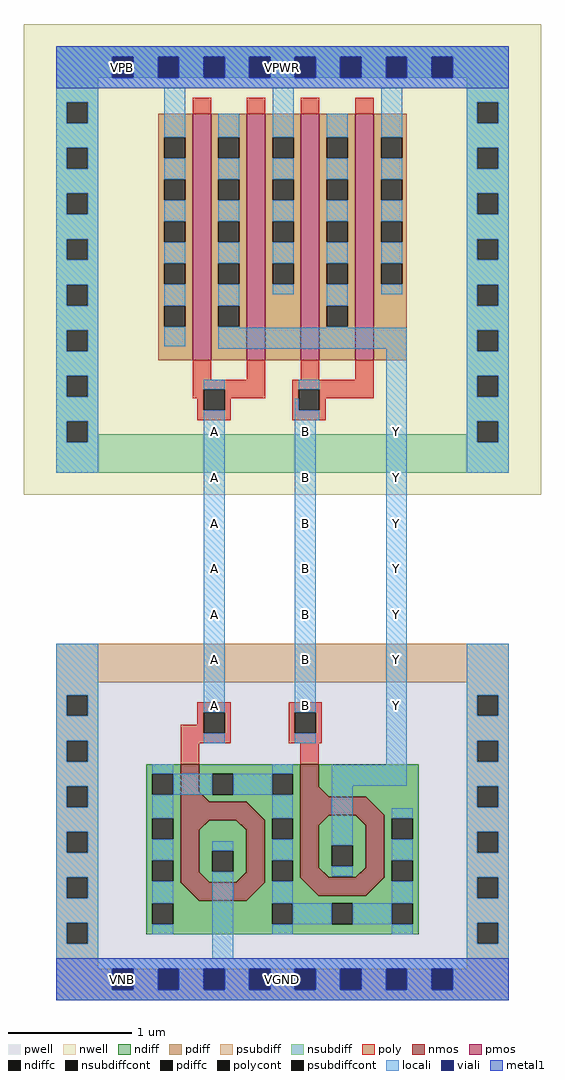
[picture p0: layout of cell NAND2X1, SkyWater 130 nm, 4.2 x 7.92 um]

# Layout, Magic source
magic
tech sky130A
magscale 1 2
<< nwell >>
rect -87 786 753 1550
<< pwell >>
rect -34 -34 700 544
<< nmos >>
rect 168 288 198 349
tri 198 288 214 304 sw
rect 362 296 392 349
tri 392 296 408 312 sw
rect 168 258 274 288
tri 274 258 304 288 sw
rect 362 266 468 296
tri 468 266 498 296 sw
rect 168 157 198 258
tri 198 242 214 258 nw
tri 258 242 274 258 ne
tri 198 157 214 173 sw
tri 258 157 274 173 se
rect 274 157 304 258
rect 362 165 392 266
tri 392 250 408 266 nw
tri 452 250 468 266 ne
tri 392 165 408 181 sw
tri 452 165 468 181 se
rect 468 165 498 266
tri 168 127 198 157 ne
rect 198 127 274 157
tri 274 127 304 157 nw
tri 362 135 392 165 ne
rect 392 135 468 165
tri 468 135 498 165 nw
<< pmos >>
rect 187 1004 217 1404
rect 275 1004 305 1404
rect 363 1004 393 1404
rect 451 1004 481 1404
<< ndiff >>
rect 112 333 168 349
rect 112 299 122 333
rect 156 299 168 333
rect 112 261 168 299
rect 198 333 362 349
rect 198 304 219 333
tri 198 288 214 304 ne
rect 214 299 219 304
rect 253 299 316 333
rect 350 299 362 333
rect 214 288 362 299
rect 392 312 554 349
tri 392 296 408 312 ne
rect 408 296 554 312
rect 112 227 122 261
rect 156 227 168 261
tri 274 258 304 288 ne
rect 304 261 362 288
tri 468 266 498 296 ne
rect 112 193 168 227
rect 112 159 122 193
rect 156 159 168 193
rect 112 127 168 159
tri 198 242 214 258 se
rect 214 242 258 258
tri 258 242 274 258 sw
rect 198 208 274 242
rect 198 174 219 208
rect 253 174 274 208
rect 198 173 274 174
tri 198 157 214 173 ne
rect 214 157 258 173
tri 258 157 274 173 nw
rect 304 227 316 261
rect 350 227 362 261
rect 304 193 362 227
rect 304 159 316 193
rect 350 159 362 193
tri 392 250 408 266 se
rect 408 250 452 266
tri 452 250 468 266 sw
rect 392 217 468 250
rect 392 183 413 217
rect 447 183 468 217
rect 392 181 468 183
tri 392 165 408 181 ne
rect 408 165 452 181
tri 452 165 468 181 nw
rect 498 261 554 296
rect 498 227 510 261
rect 544 227 554 261
rect 498 193 554 227
tri 168 127 198 157 sw
tri 274 127 304 157 se
rect 304 135 362 159
tri 362 135 392 165 sw
tri 468 135 498 165 se
rect 498 159 510 193
rect 544 159 554 193
rect 498 135 554 159
rect 304 127 554 135
rect 112 123 554 127
rect 112 89 122 123
rect 156 89 316 123
rect 350 89 413 123
rect 447 89 510 123
rect 544 89 554 123
rect 112 73 554 89
<< pdiff >>
rect 131 1366 187 1404
rect 131 1332 141 1366
rect 175 1332 187 1366
rect 131 1298 187 1332
rect 131 1264 141 1298
rect 175 1264 187 1298
rect 131 1230 187 1264
rect 131 1196 141 1230
rect 175 1196 187 1230
rect 131 1162 187 1196
rect 131 1128 141 1162
rect 175 1128 187 1162
rect 131 1093 187 1128
rect 131 1059 141 1093
rect 175 1059 187 1093
rect 131 1004 187 1059
rect 217 1366 275 1404
rect 217 1332 229 1366
rect 263 1332 275 1366
rect 217 1298 275 1332
rect 217 1264 229 1298
rect 263 1264 275 1298
rect 217 1230 275 1264
rect 217 1196 229 1230
rect 263 1196 275 1230
rect 217 1162 275 1196
rect 217 1128 229 1162
rect 263 1128 275 1162
rect 217 1093 275 1128
rect 217 1059 229 1093
rect 263 1059 275 1093
rect 217 1004 275 1059
rect 305 1366 363 1404
rect 305 1332 317 1366
rect 351 1332 363 1366
rect 305 1298 363 1332
rect 305 1264 317 1298
rect 351 1264 363 1298
rect 305 1230 363 1264
rect 305 1196 317 1230
rect 351 1196 363 1230
rect 305 1162 363 1196
rect 305 1128 317 1162
rect 351 1128 363 1162
rect 305 1004 363 1128
rect 393 1366 451 1404
rect 393 1332 405 1366
rect 439 1332 451 1366
rect 393 1298 451 1332
rect 393 1264 405 1298
rect 439 1264 451 1298
rect 393 1230 451 1264
rect 393 1196 405 1230
rect 439 1196 451 1230
rect 393 1162 451 1196
rect 393 1128 405 1162
rect 439 1128 451 1162
rect 393 1093 451 1128
rect 393 1059 405 1093
rect 439 1059 451 1093
rect 393 1004 451 1059
rect 481 1366 535 1404
rect 481 1332 493 1366
rect 527 1332 535 1366
rect 481 1298 535 1332
rect 481 1264 493 1298
rect 527 1264 535 1298
rect 481 1230 535 1264
rect 481 1196 493 1230
rect 527 1196 535 1230
rect 481 1162 535 1196
rect 481 1128 493 1162
rect 527 1128 535 1162
rect 481 1004 535 1128
<< ndiffc >>
rect 122 299 156 333
rect 219 299 253 333
rect 316 299 350 333
rect 122 227 156 261
rect 122 159 156 193
rect 219 174 253 208
rect 316 227 350 261
rect 316 159 350 193
rect 413 183 447 217
rect 510 227 544 261
rect 510 159 544 193
rect 122 89 156 123
rect 316 89 350 123
rect 413 89 447 123
rect 510 89 544 123
<< pdiffc >>
rect 141 1332 175 1366
rect 141 1264 175 1298
rect 141 1196 175 1230
rect 141 1128 175 1162
rect 141 1059 175 1093
rect 229 1332 263 1366
rect 229 1264 263 1298
rect 229 1196 263 1230
rect 229 1128 263 1162
rect 229 1059 263 1093
rect 317 1332 351 1366
rect 317 1264 351 1298
rect 317 1196 351 1230
rect 317 1128 351 1162
rect 405 1332 439 1366
rect 405 1264 439 1298
rect 405 1196 439 1230
rect 405 1128 439 1162
rect 405 1059 439 1093
rect 493 1332 527 1366
rect 493 1264 527 1298
rect 493 1196 527 1230
rect 493 1128 527 1162
<< psubdiff >>
rect -34 482 700 544
rect -34 461 34 482
rect -34 427 -17 461
rect 17 427 34 461
rect 632 461 700 482
rect -34 387 34 427
rect -34 353 -17 387
rect 17 353 34 387
rect -34 313 34 353
rect 632 427 649 461
rect 683 427 700 461
rect 632 387 700 427
rect 632 353 649 387
rect 683 353 700 387
rect -34 279 -17 313
rect 17 279 34 313
rect -34 239 34 279
rect -34 205 -17 239
rect 17 205 34 239
rect -34 165 34 205
rect -34 131 -17 165
rect 17 131 34 165
rect -34 91 34 131
rect -34 57 -17 91
rect 17 57 34 91
rect 632 313 700 353
rect 632 279 649 313
rect 683 279 700 313
rect 632 239 700 279
rect 632 205 649 239
rect 683 205 700 239
rect 632 165 700 205
rect 632 131 649 165
rect 683 131 700 165
rect 632 91 700 131
rect -34 17 34 57
rect 632 57 649 91
rect 683 57 700 91
rect 632 17 700 57
rect -34 -17 57 17
rect 91 -17 131 17
rect 165 -17 205 17
rect 239 -17 279 17
rect 313 -17 353 17
rect 387 -17 427 17
rect 461 -17 501 17
rect 535 -17 575 17
rect 609 -17 700 17
rect -34 -34 700 -17
<< nsubdiff >>
rect -34 1497 700 1514
rect -34 1463 57 1497
rect 91 1463 131 1497
rect 165 1463 205 1497
rect 239 1463 279 1497
rect 313 1463 353 1497
rect 387 1463 427 1497
rect 461 1463 501 1497
rect 535 1463 575 1497
rect 609 1463 700 1497
rect -34 1423 34 1463
rect -34 1389 -17 1423
rect 17 1389 34 1423
rect 632 1423 700 1463
rect -34 1349 34 1389
rect -34 1315 -17 1349
rect 17 1315 34 1349
rect -34 1275 34 1315
rect -34 1241 -17 1275
rect 17 1241 34 1275
rect -34 1201 34 1241
rect -34 1167 -17 1201
rect 17 1167 34 1201
rect -34 1127 34 1167
rect -34 1093 -17 1127
rect 17 1093 34 1127
rect -34 1053 34 1093
rect -34 1019 -17 1053
rect 17 1019 34 1053
rect -34 979 34 1019
rect 632 1389 649 1423
rect 683 1389 700 1423
rect 632 1349 700 1389
rect 632 1315 649 1349
rect 683 1315 700 1349
rect 632 1275 700 1315
rect 632 1241 649 1275
rect 683 1241 700 1275
rect 632 1201 700 1241
rect 632 1167 649 1201
rect 683 1167 700 1201
rect 632 1127 700 1167
rect 632 1093 649 1127
rect 683 1093 700 1127
rect 632 1053 700 1093
rect 632 1019 649 1053
rect 683 1019 700 1053
rect -34 945 -17 979
rect 17 945 34 979
rect -34 905 34 945
rect 632 979 700 1019
rect 632 945 649 979
rect 683 945 700 979
rect -34 871 -17 905
rect 17 884 34 905
rect 632 905 700 945
rect 632 884 649 905
rect 17 871 649 884
rect 683 871 700 905
rect -34 822 700 871
<< psubdiffcont >>
rect -17 427 17 461
rect -17 353 17 387
rect 649 427 683 461
rect 649 353 683 387
rect -17 279 17 313
rect -17 205 17 239
rect -17 131 17 165
rect -17 57 17 91
rect 649 279 683 313
rect 649 205 683 239
rect 649 131 683 165
rect 649 57 683 91
rect 57 -17 91 17
rect 131 -17 165 17
rect 205 -17 239 17
rect 279 -17 313 17
rect 353 -17 387 17
rect 427 -17 461 17
rect 501 -17 535 17
rect 575 -17 609 17
<< nsubdiffcont >>
rect 57 1463 91 1497
rect 131 1463 165 1497
rect 205 1463 239 1497
rect 279 1463 313 1497
rect 353 1463 387 1497
rect 427 1463 461 1497
rect 501 1463 535 1497
rect 575 1463 609 1497
rect -17 1389 17 1423
rect -17 1315 17 1349
rect -17 1241 17 1275
rect -17 1167 17 1201
rect -17 1093 17 1127
rect -17 1019 17 1053
rect 649 1389 683 1423
rect 649 1315 683 1349
rect 649 1241 683 1275
rect 649 1167 683 1201
rect 649 1093 683 1127
rect 649 1019 683 1053
rect -17 945 17 979
rect 649 945 683 979
rect -17 871 17 905
rect 649 871 683 905
<< poly >>
rect 187 1404 217 1430
rect 275 1404 305 1430
rect 363 1404 393 1430
rect 451 1404 481 1430
rect 187 973 217 1004
rect 275 973 305 1004
rect 363 973 393 1004
rect 451 973 481 1004
rect 187 957 305 973
rect 187 943 205 957
rect 195 923 205 943
rect 239 943 305 957
rect 349 957 481 973
rect 239 923 249 943
rect 195 907 249 923
rect 349 923 359 957
rect 393 943 481 957
rect 393 923 403 943
rect 349 907 403 923
rect 195 433 249 449
rect 195 413 205 433
rect 168 399 205 413
rect 239 399 249 433
rect 168 383 249 399
rect 343 433 397 449
rect 343 399 353 433
rect 387 399 397 433
rect 343 383 397 399
rect 168 349 198 383
rect 362 349 392 383
<< polycont >>
rect 205 923 239 957
rect 359 923 393 957
rect 205 399 239 433
rect 353 399 387 433
<< locali >>
rect -34 1497 700 1514
rect -34 1463 57 1497
rect 91 1463 131 1497
rect 165 1463 205 1497
rect 239 1463 279 1497
rect 313 1463 353 1497
rect 387 1463 427 1497
rect 461 1463 501 1497
rect 535 1463 575 1497
rect 609 1463 700 1497
rect -34 1446 700 1463
rect -34 1423 34 1446
rect -34 1389 -17 1423
rect 17 1389 34 1423
rect -34 1349 34 1389
rect -34 1315 -17 1349
rect 17 1315 34 1349
rect -34 1275 34 1315
rect -34 1241 -17 1275
rect 17 1241 34 1275
rect -34 1201 34 1241
rect -34 1167 -17 1201
rect 17 1167 34 1201
rect -34 1127 34 1167
rect -34 1093 -17 1127
rect 17 1093 34 1127
rect -34 1053 34 1093
rect -34 1019 -17 1053
rect 17 1019 34 1053
rect 141 1366 175 1446
rect 141 1298 175 1332
rect 141 1230 175 1264
rect 141 1162 175 1196
rect 141 1093 175 1128
rect 141 1027 175 1059
rect 229 1366 263 1404
rect 229 1298 263 1332
rect 229 1230 263 1264
rect 229 1162 263 1196
rect 229 1093 263 1128
rect 317 1366 351 1446
rect 317 1298 351 1332
rect 317 1230 351 1264
rect 317 1162 351 1196
rect 317 1111 351 1128
rect 405 1366 439 1404
rect 405 1298 439 1332
rect 405 1230 439 1264
rect 405 1162 439 1196
rect 229 1057 263 1059
rect 405 1093 439 1128
rect 493 1366 527 1446
rect 493 1298 527 1332
rect 493 1230 527 1264
rect 493 1162 527 1196
rect 493 1111 527 1128
rect 632 1423 700 1446
rect 632 1389 649 1423
rect 683 1389 700 1423
rect 632 1349 700 1389
rect 632 1315 649 1349
rect 683 1315 700 1349
rect 632 1275 700 1315
rect 632 1241 649 1275
rect 683 1241 700 1275
rect 632 1201 700 1241
rect 632 1167 649 1201
rect 683 1167 700 1201
rect 632 1127 700 1167
rect 405 1057 439 1059
rect 632 1093 649 1127
rect 683 1093 700 1127
rect 229 1023 535 1057
rect -34 979 34 1019
rect -34 945 -17 979
rect 17 945 34 979
rect -34 905 34 945
rect -34 871 -17 905
rect 17 871 34 905
rect -34 822 34 871
rect 205 957 239 973
rect 359 957 393 973
rect -34 461 34 544
rect -34 427 -17 461
rect 17 427 34 461
rect -34 387 34 427
rect -34 353 -17 387
rect 17 353 34 387
rect 205 433 239 923
rect 205 383 239 399
rect 353 923 359 942
rect 353 907 393 923
rect 353 433 387 907
rect 353 383 387 399
rect -34 313 34 353
rect -34 279 -17 313
rect 17 279 34 313
rect -34 239 34 279
rect -34 205 -17 239
rect 17 205 34 239
rect -34 165 34 205
rect -34 131 -17 165
rect 17 131 34 165
rect -34 91 34 131
rect -34 57 -17 91
rect 17 57 34 91
rect 122 333 156 349
rect 316 333 350 349
rect 501 348 535 1023
rect 632 1053 700 1093
rect 632 1019 649 1053
rect 683 1019 700 1053
rect 632 979 700 1019
rect 632 945 649 979
rect 683 945 700 979
rect 632 905 700 945
rect 632 871 649 905
rect 683 871 700 905
rect 632 822 700 871
rect 156 299 219 333
rect 253 299 316 333
rect 122 261 156 299
rect 122 193 156 227
rect 316 261 350 299
rect 122 123 156 159
rect 122 73 156 89
rect 219 208 253 224
rect -34 34 34 57
rect 219 34 253 174
rect 316 193 350 227
rect 413 314 535 348
rect 632 461 700 544
rect 632 427 649 461
rect 683 427 700 461
rect 632 387 700 427
rect 632 353 649 387
rect 683 353 700 387
rect 413 217 447 314
rect 632 313 700 353
rect 632 279 649 313
rect 683 279 700 313
rect 413 167 447 183
rect 510 261 544 277
rect 510 193 544 227
rect 316 123 350 159
rect 510 123 544 159
rect 350 89 413 123
rect 447 89 510 123
rect 316 73 350 89
rect 510 73 544 89
rect 632 239 700 279
rect 632 205 649 239
rect 683 205 700 239
rect 632 165 700 205
rect 632 131 649 165
rect 683 131 700 165
rect 632 91 700 131
rect 632 57 649 91
rect 683 57 700 91
rect 632 34 700 57
rect -34 17 700 34
rect -34 -17 57 17
rect 91 -17 131 17
rect 165 -17 205 17
rect 239 -17 279 17
rect 313 -17 353 17
rect 387 -17 427 17
rect 461 -17 501 17
rect 535 -17 575 17
rect 609 -17 700 17
rect -34 -34 700 -17
<< viali >>
rect 57 1463 91 1497
rect 131 1463 165 1497
rect 205 1463 239 1497
rect 279 1463 313 1497
rect 353 1463 387 1497
rect 427 1463 461 1497
rect 501 1463 535 1497
rect 575 1463 609 1497
rect 57 -17 91 17
rect 131 -17 165 17
rect 205 -17 239 17
rect 279 -17 313 17
rect 353 -17 387 17
rect 427 -17 461 17
rect 501 -17 535 17
rect 575 -17 609 17
<< metal1 >>
rect -34 1497 700 1514
rect -34 1463 57 1497
rect 91 1463 131 1497
rect 165 1463 205 1497
rect 239 1463 279 1497
rect 313 1463 353 1497
rect 387 1463 427 1497
rect 461 1463 501 1497
rect 535 1463 575 1497
rect 609 1463 700 1497
rect -34 1446 700 1463
rect -34 17 700 34
rect -34 -17 57 17
rect 91 -17 131 17
rect 165 -17 205 17
rect 239 -17 279 17
rect 313 -17 353 17
rect 387 -17 427 17
rect 461 -17 501 17
rect 535 -17 575 17
rect 609 -17 700 17
rect -34 -34 700 -17
<< labels >>
rlabel metal1 501 649 535 683 1 Y
port 1 n
rlabel metal1 501 723 535 757 1 Y
port 2 n
rlabel metal1 501 797 535 831 1 Y
port 3 n
rlabel metal1 501 871 535 905 1 Y
port 4 n
rlabel metal1 501 575 535 609 1 Y
port 5 n
rlabel metal1 501 501 535 535 1 Y
port 6 n
rlabel metal1 501 427 535 461 1 Y
port 7 n
rlabel metal1 205 797 239 831 1 A
port 8 n
rlabel metal1 205 723 239 757 1 A
port 9 n
rlabel metal1 205 649 239 683 1 A
port 10 n
rlabel metal1 205 575 239 609 1 A
port 11 n
rlabel metal1 205 501 239 535 1 A
port 12 n
rlabel metal1 205 427 239 461 1 A
port 13 n
rlabel metal1 205 871 239 905 1 A
port 14 n
rlabel metal1 353 649 387 683 1 B
port 15 n
rlabel metal1 353 723 387 757 1 B
port 16 n
rlabel metal1 353 797 387 831 1 B
port 17 n
rlabel metal1 353 871 387 905 1 B
port 18 n
rlabel metal1 353 575 387 609 1 B
port 19 n
rlabel metal1 353 501 387 535 1 B
port 20 n
rlabel metal1 353 427 387 461 1 B
port 21 n
rlabel metal1 -34 1446 700 1514 1 VPWR
port 22 n
rlabel metal1 -34 -34 700 34 1 VGND
port 23 n
rlabel nwell 57 1463 91 1497 1 VPB
port 24 n
rlabel pwell 57 -17 91 17 1 VNB
port 25 n
<< end >>
